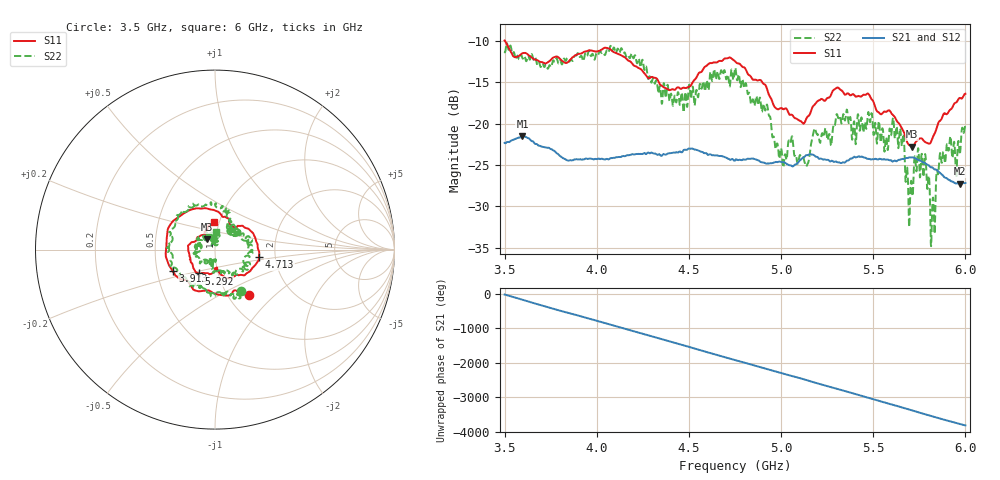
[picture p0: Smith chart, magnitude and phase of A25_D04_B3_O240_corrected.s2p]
! Created with skrf 1.9.0 (http://scikit-rf.org).
# Hz S RI R 50.0
!freq ReS11 ImS11 ReS21 ImS21 ReS12 ImS12 ReS22 ImS22
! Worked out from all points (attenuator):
!   1601 points, 3.5 GHz to 6 GHz, reference 50 ohm
!   highest |S21| = -21.54 dB at 3.597 GHz (marker M1); lowest = -27.2 dB at 5.97 GHz (marker M2)
!   lowest |S11| = -22.8 dB at 5.709 GHz (marker M3), VSWR 1.16, Z = 45.4 + j5.19 ohm
!   |S11| at or under -10 dB: 3.501 GHz to end of sweep
!   |S22| runs from -34.8 to -10.3 dB; largest |S21 - S12| = 0.00096
!   S11 on the Smith chart (normalised r, x): 3.5 GHz: 1.25, -0.70; 3.913 GHz: 0.60, -0.16; 4.713 GHz: 1.64, -0.14; 5.292 GHz: 0.81, -0.22; 6 GHz: 0.95, +0.29
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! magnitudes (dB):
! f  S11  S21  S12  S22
! 3.5 GHz  -10.0  -22.3  -22.3  -11.3
! 3.597 GHz  -11.5  -21.5  -21.5  -12.1
! 3.913 GHz  -11.6  -24.3  -24.2  -11.9
! 3.917 GHz  -11.5  -24.3  -24.3  -11.8
! 4.141 GHz  -11.9  -23.9  -23.9  -11.4
! 4.334 GHz  -14.9  -23.7  -23.6  -16.4
! 4.713 GHz  -12.1  -24.2  -24.2  -14.2
! 4.75 GHz  -12.5  -24.5  -24.3  -13.3
! 4.917 GHz  -15.4  -24.8  -24.8  -18.3
! 5.019 GHz  -18.2  -24.7  -24.6  -23.9
! 5.139 GHz  -19.3  -23.8  -23.7  -25.1
! 5.167 GHz  -18.2  -23.7  -23.7  -22.0
! 5.292 GHz  -15.8  -24.6  -24.5  -20.2
! 5.584 GHz  -18.4  -24.4  -24.3  -21.6
! 5.655 GHz  -20.5  -24.3  -24.2  -22.7
! 5.688 GHz  -22.4  -24.2  -24.1  -26.3
! 5.709 GHz  -22.8  -24.1  -24.0  -27.7
! 5.773 GHz  -22.1  -24.7  -24.6  -26.4
! 5.823 GHz  -21.6  -25.3  -25.3  -29.0
! 5.869 GHz  -19.5  -26.1  -26.0  -24.4
! 5.97 GHz  -16.9  -27.2  -27.2  -23.8
! 6 GHz  -16.4  -27.2  -27.1  -20.2
